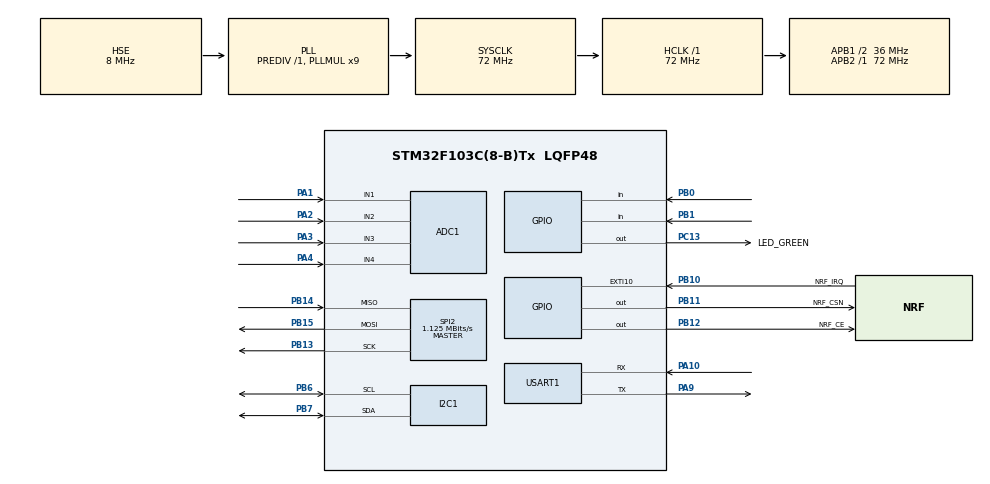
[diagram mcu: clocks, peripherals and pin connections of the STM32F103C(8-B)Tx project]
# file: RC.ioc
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ADC1.Channel-0\#ChannelRegularConversion=ADC_CHANNEL_1
ADC1.Channel-1\#ChannelRegularConversion=ADC_CHANNEL_2
ADC1.Channel-2\#ChannelRegularConversion=ADC_CHANNEL_3
ADC1.Channel-3\#ChannelRegularConversion=ADC_CHANNEL_4
ADC1.ContinuousConvMode=ENABLE
ADC1.DataAlign=ADC_DATAALIGN_RIGHT
ADC1.DiscontinuousConvMode=DISABLE
ADC1.EnableAnalogWatchDog=false
ADC1.EnableRegularConversion=ENABLE
ADC1.ExternalTrigConv=ADC_SOFTWARE_START
ADC1.InjNumberOfConversion=0
ADC1.NbrOfConversion=4
ADC1.NbrOfConversionFlag=1
ADC1.Rank-0\#ChannelRegularConversion=1
ADC1.Rank-1\#ChannelRegularConversion=2
ADC1.Rank-2\#ChannelRegularConversion=3
ADC1.Rank-3\#ChannelRegularConversion=4
ADC1.SamplingTime-0\#ChannelRegularConversion=ADC_SAMPLETIME_71CYCLES_5
ADC1.SamplingTime-1\#ChannelRegularConversion=ADC_SAMPLETIME_71CYCLES_5
ADC1.SamplingTime-2\#ChannelRegularConversion=ADC_SAMPLETIME_71CYCLES_5
ADC1.SamplingTime-3\#ChannelRegularConversion=ADC_SAMPLETIME_71CYCLES_5
ADC1.ScanConvMode=ADC_SCAN_ENABLE
ADC1.master=1
Dma.ADC1.0.Direction=DMA_PERIPH_TO_MEMORY
Dma.ADC1.0.Instance=DMA1_Channel1
Dma.ADC1.0.MemDataAlignment=DMA_MDATAALIGN_WORD
Dma.ADC1.0.MemInc=DMA_MINC_ENABLE
Dma.ADC1.0.Mode=DMA_CIRCULAR
Dma.ADC1.0.PeriphDataAlignment=DMA_PDATAALIGN_WORD
Dma.ADC1.0.PeriphInc=DMA_PINC_DISABLE
Dma.ADC1.0.Priority=DMA_PRIORITY_LOW
Dma.Request0=ADC1
FREERTOS.Mutexes01=NRFMutex,Dynamic,NULL
FREERTOS.Tasks01=DefaultTask,0,64,StartDefaultTask,Default,NULL,Dynamic,NULL,NULL;NRF_TxTask,2,512,StartNRF_TxTask,Default,NULL,Dynamic,NULL,NULL;NRF_RxTask,2,512,StartNRF_RxTask,Default,NULL,Dynamic,NULL,NULL;OLED_Task,-3,64,StartOLED_Task,Default,NULL,Dynamic,NULL,NULL
FREERTOS.configENABLE_BACKWARD_COMPATIBILITY=0
FREERTOS.configGENERATE_RUN_TIME_STATS=0
FREERTOS.configIDLE_SHOULD_YIELD=0
FREERTOS.configMINIMAL_STACK_SIZE=64
FREERTOS.configQUEUE_REGISTRY_SIZE=0
FREERTOS.configTOTAL_HEAP_SIZE=10240
FREERTOS.configUSE_MUTEXES=1
FREERTOS.configUSE_STATS_FORMATTING_FUNCTIONS=0
FREERTOS.configUSE_TASK_NOTIFICATIONS=0
FREERTOS.configUSE_TRACE_FACILITY=0
I2C1.I2C_Mode=I2C_Fast
Mcu.Family=STM32F1
Mcu.Name=STM32F103C(8-B)Tx
Mcu.Package=LQFP48
NVIC.DMA1_Channel1_IRQn=true\:5\:0\:false\:true\:true\:1\:true\:false
NVIC.EXTI15_10_IRQn=true\:6\:0\:true\:true\:true\:2\:true\:true
NVIC.PriorityGroup=NVIC_PRIORITYGROUP_4
NVIC.TIM4_IRQn=true\:0\:0\:false\:false\:true\:false\:false
NVIC.TimeBase=TIM4_IRQn
NVIC.TimeBaseIP=TIM4
PA1.Signal=ADCx_IN1
PA10.Mode=Asynchronous
PA10.Signal=USART1_RX
PA13.GPIO_Label=SWDIO
PA13.Mode=Serial_Wire
PA13.Signal=SYS_JTMS-SWDIO
PA14.GPIO_Label=SWCLK
PA14.Mode=Serial_Wire
PA14.Signal=SYS_JTCK-SWCLK
PA2.Signal=ADCx_IN2
PA3.Signal=ADCx_IN3
PA4.Signal=ADCx_IN4
PA9.Mode=Asynchronous
PA9.Signal=USART1_TX
PB0.GPIO_PuPd=GPIO_PULLUP
PB0.Signal=GPIO_Input
PB1.GPIO_PuPd=GPIO_PULLDOWN
PB1.Signal=GPIO_Input
PB10.GPIO_Label=NRF_IRQ
PB10.Signal=GPXTI10
PB11.GPIO_Label=NRF_CSN
PB11.GPIO_Speed=GPIO_SPEED_FREQ_HIGH
PB11.Signal=GPIO_Output
PB12.GPIO_Label=NRF_CE
PB12.GPIO_Speed=GPIO_SPEED_FREQ_HIGH
PB12.Signal=GPIO_Output
PB13.Mode=Full_Duplex_Master
PB13.Signal=SPI2_SCK
PB14.Mode=Full_Duplex_Master
PB14.Signal=SPI2_MISO
PB15.Mode=Full_Duplex_Master
PB15.Signal=SPI2_MOSI
PB6.Mode=I2C
PB6.Signal=I2C1_SCL
PB7.Mode=I2C
PB7.Signal=I2C1_SDA
PC13-TAMPER-RTC.GPIO_Label=LED_GREEN
PC13-TAMPER-RTC.GPIO_Speed=GPIO_SPEED_FREQ_HIGH
PC13-TAMPER-RTC.Signal=GPIO_Output
PC14-OSC32_IN.Mode=LSE-External-Oscillator
PC14-OSC32_IN.Signal=RCC_OSC32_IN
PC15-OSC32_OUT.Mode=LSE-External-Oscillator
PC15-OSC32_OUT.Signal=RCC_OSC32_OUT
PD0-OSC_IN.Mode=HSE-External-Oscillator
PD0-OSC_IN.Signal=RCC_OSC_IN
PD1-OSC_OUT.Mode=HSE-External-Oscillator
PD1-OSC_OUT.Signal=RCC_OSC_OUT
ProjectManager.HeapSize=0x400
ProjectManager.StackSize=0x600
ProjectManager.TargetToolchain=MDK-ARM V5
RCC.ADCPresc=RCC_ADCPCLK2_DIV6
RCC.AHBFreq_Value=72000000
RCC.APB1CLKDivider=RCC_HCLK_DIV2
RCC.APB1Freq_Value=36000000
RCC.APB1TimFreq_Value=72000000
RCC.APB2Freq_Value=72000000
RCC.APB2TimFreq_Value=72000000
RCC.HCLKFreq_Value=72000000
RCC.PLLMUL=RCC_PLL_MUL9
RCC.PLLSourceVirtual=RCC_PLLSOURCE_HSE
RCC.SYSCLKFreq_VALUE=72000000
RCC.SYSCLKSource=RCC_SYSCLKSOURCE_PLLCLK
RCC.USBFreq_Value=48000000
RCC.USBPrescaler=RCC_USBCLKSOURCE_PLL_DIV1_5
SH.ADCx_IN1.0=ADC1_IN1,IN1
SH.ADCx_IN2.0=ADC1_IN2,IN2
SH.ADCx_IN3.0=ADC1_IN3,IN3
SH.ADCx_IN4.0=ADC1_IN4,IN4
SPI2.BaudRatePrescaler=SPI_BAUDRATEPRESCALER_32
SPI2.CalculateBaudRate=1.125 MBits/s
SPI2.Direction=SPI_DIRECTION_2LINES
SPI2.Mode=SPI_MODE_MASTER
SPI2.VirtualType=VM_MASTER
USART1.VirtualMode=VM_ASYNC
VP_CRC_VS_CRC.Mode=CRC_Activate
VP_FREERTOS_VS_ENABLE.Mode=Enabled
VP_SYS_VS_tim4.Mode=TIM4
board=custom

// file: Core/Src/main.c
/* USER CODE BEGIN Header */
/**
  ******************************************************************************
  * @file           : main.c
  * @brief          : Main program body
  ******************************************************************************
  * This notice applies to any and all portions of this file
  * that are not between comment pairs USER CODE BEGIN and
  * USER CODE END. Other portions of this file, whether
  * inserted by the user or by software development tools
  * are owned by their respective copyright owners.
  *
  * Copyright (c) 2018 STMicroelectronics International N.V.
  * All rights reserved.
  *
  * Redistribution and use in source and binary forms, with or without
  * modification, are permitted, provided that the following conditions are met:
  *
  * 1. Redistribution of source code must retain the above copyright notice,
  *    this list of conditions and the following disclaimer.
  * 2. Redistributions in binary form must reproduce the above copyright notice,
  *    this list of conditions and the following disclaimer in the documentation
  *    and/or other materials provided with the distribution.
  * 3. Neither the name of STMicroelectronics nor the names of other
  *    contributors to this software may be used to endorse or promote products
  *    derived from this software without specific written permission.
  * 4. This software, including modifications and/or derivative works of this
  *    software, must execute solely and exclusively on microcontroller or
  *    microprocessor devices manufactured by or for STMicroelectronics.
  * 5. Redistribution and use of this software other than as permitted under
  *    this license is void and will automatically terminate your rights under
  *    this license.
  *
  * THIS SOFTWARE IS PROVIDED BY STMICROELECTRONICS AND CONTRIBUTORS "AS IS"
  * AND ANY EXPRESS, IMPLIED OR STATUTORY WARRANTIES, INCLUDING, BUT NOT
  * LIMITED TO, THE IMPLIED WARRANTIES OF MERCHANTABILITY, FITNESS FOR A
  * PARTICULAR PURPOSE AND NON-INFRINGEMENT OF THIRD PARTY INTELLECTUAL PROPERTY
  * RIGHTS ARE DISCLAIMED TO THE FULLEST EXTENT PERMITTED BY LAW. IN NO EVENT
  * SHALL STMICROELECTRONICS OR CONTRIBUTORS BE LIABLE FOR ANY DIRECT, INDIRECT,
  * INCIDENTAL, SPECIAL, EXEMPLARY, OR CONSEQUENTIAL DAMAGES (INCLUDING, BUT NOT
  * LIMITED TO, PROCUREMENT OF SUBSTITUTE GOODS OR SERVICES; LOSS OF USE, DATA,
  * OR PROFITS; OR BUSINESS INTERRUPTION) HOWEVER CAUSED AND ON ANY THEORY OF
  * LIABILITY, WHETHER IN CONTRACT, STRICT LIABILITY, OR TORT (INCLUDING
  * NEGLIGENCE OR OTHERWISE) ARISING IN ANY WAY OUT OF THE USE OF THIS SOFTWARE,
  * EVEN IF ADVISED OF THE POSSIBILITY OF SUCH DAMAGE.
  *
  ******************************************************************************
  */
/* USER CODE END Header */

#include "main.h"
#include "cmsis_os.h"
#include "adc.h"
#include "crc.h"
#include "dma.h"
#include "i2c.h"
#include "spi.h"
#include "usart.h"
#include "gpio.h"

/* USER CODE BEGIN Includes */
#include "BSP_OLED.h"
#include "BSP_NRF24L01.h"
/* USER CODE END Includes */

void SystemClock_Config(void);
void MX_FREERTOS_Init(void);
static void MX_NVIC_Init(void);

int main(void)
{

  /* MCU Configuration--------------------------------------------------------*/

  /* Reset of all peripherals, Initializes the Flash interface and the Systick. */
  HAL_Init();

  /* Configure the system clock */
  SystemClock_Config();

  /* Initialize all configured peripherals */
  MX_GPIO_Init();
  MX_DMA_Init();
  MX_SPI2_Init();
  MX_ADC1_Init();
  MX_I2C1_Init();
  MX_CRC_Init();
  MX_USART1_UART_Init();

  /* Initialize interrupts */
  MX_NVIC_Init();
  /* USER CODE BEGIN 2 */
	 OLED_Init();
		OLED_Clear();
	 OLED_ShowString(0,0,(uint8_t *)"----------------",12);
		OLED_ShowString(0,1,(uint8_t *)"++++++++++++++++",12);
		OLED_ShowString(0,2,(uint8_t *)"----------------",12);
		OLED_ShowString(0,3,(uint8_t *)"++++++++++++++++",12);
		OLED_ShowString(0,4,(uint8_t *)"----------------",12);
		OLED_ShowString(0,5,(uint8_t *)"++++++++++++++++",12);
		OLED_ShowString(0,6,(uint8_t *)"----------------",12);
		OLED_ShowString(0,7,(uint8_t *)"++++++++++++++++",12);

		OLED_Clear();

		#if 0
	 /*   检测双向通信  先发送测试  后接收测试  确保硬件没有问题    */
		while( NRF24L01_Check() );
	 NRF24L01_Init(40,1);
	 /*********发送测试部分**********/
		Tx_packet[0]=1;
		Tx_packet[1]=0xcc;
		NRF24L01_TX_Mode();
		while(1)
		{
				NRF_TxState=NRF24L01_TxPacket(Tx_packet);
		}

  /*********接收测试部分**********/
	 NRF24L01_RX_Mode();
  while(1)
 	{
	   NRF_RxState=NRF24L01_RxPacket(Rx_packet);
	 }
  #endif

 /* USER CODE END 2 */

  /* Call init function for freertos objects (in freertos.c) */
  MX_FREERTOS_Init();

  /* Start scheduler */
  osKernelStart();

  /* We should never get here as control is now taken by the scheduler */

  /* Infinite loop */
  while (1)
  {

  }
}

void SystemClock_Config(void)
{
  RCC_OscInitTypeDef RCC_OscInitStruct = {0};
  RCC_ClkInitTypeDef RCC_ClkInitStruct = {0};
  RCC_PeriphCLKInitTypeDef PeriphClkInit = {0};

  /**Initializes the CPU, AHB and APB busses clocks
  */
  RCC_OscInitStruct.OscillatorType = RCC_OSCILLATORTYPE_HSE;
  RCC_OscInitStruct.HSEState = RCC_HSE_ON;
  RCC_OscInitStruct.HSEPredivValue = RCC_HSE_PREDIV_DIV1;
  RCC_OscInitStruct.HSIState = RCC_HSI_ON;
  RCC_OscInitStruct.PLL.PLLState = RCC_PLL_ON;
  RCC_OscInitStruct.PLL.PLLSource = RCC_PLLSOURCE_HSE;
  RCC_OscInitStruct.PLL.PLLMUL = RCC_PLL_MUL9;
  if (HAL_RCC_OscConfig(&RCC_OscInitStruct) != HAL_OK)
  {
    Error_Handler();
  }
  /**Initializes the CPU, AHB and APB busses clocks
  */
  RCC_ClkInitStruct.ClockType = RCC_CLOCKTYPE_HCLK|RCC_CLOCKTYPE_SYSCLK
                              |RCC_CLOCKTYPE_PCLK1|RCC_CLOCKTYPE_PCLK2;
  RCC_ClkInitStruct.SYSCLKSource = RCC_SYSCLKSOURCE_PLLCLK;
  RCC_ClkInitStruct.AHBCLKDivider = RCC_SYSCLK_DIV1;
  RCC_ClkInitStruct.APB1CLKDivider = RCC_HCLK_DIV2;
  RCC_ClkInitStruct.APB2CLKDivider = RCC_HCLK_DIV1;

  if (HAL_RCC_ClockConfig(&RCC_ClkInitStruct, FLASH_LATENCY_2) != HAL_OK)
  {
    Error_Handler();
  }
  PeriphClkInit.PeriphClockSelection = RCC_PERIPHCLK_ADC;
  PeriphClkInit.AdcClockSelection = RCC_ADCPCLK2_DIV6;
  if (HAL_RCCEx_PeriphCLKConfig(&PeriphClkInit) != HAL_OK)
  {
    Error_Handler();
  }
}

/**
  * @brief NVIC Configuration.
  * @retval None
  */
static void MX_NVIC_Init(void)
{
  /* DMA1_Channel1_IRQn interrupt configuration */
  HAL_NVIC_SetPriority(DMA1_Channel1_IRQn, 5, 0);
  HAL_NVIC_EnableIRQ(DMA1_Channel1_IRQn);
  /* EXTI15_10_IRQn interrupt configuration */
  HAL_NVIC_SetPriority(EXTI15_10_IRQn, 6, 0);
  HAL_NVIC_EnableIRQ(EXTI15_10_IRQn);
}

/* USER CODE BEGIN 4 */
void HAL_GPIO_EXTI_Callback(uint16_t GPIO_Pin)
{
  uint8_t Rx_buf[32];
	 if( NRF24L01_IRQ_PIN_READ() ==GPIO_PIN_SET )
		NRF24L01_IRQ(Rx_buf);

}
/* USER CODE END 4 */

void HAL_TIM_PeriodElapsedCallback(TIM_HandleTypeDef *htim)
{
  if (htim->Instance == TIM4) {
    HAL_IncTick();
  }
}

void Error_Handler(void)
{
}

/************************ (C) COPYRIGHT STMicroelectronics *****END OF FILE****/

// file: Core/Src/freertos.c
/* USER CODE BEGIN Header */
/**
  ******************************************************************************
  * File Name          : freertos.c
  * Description        : Code for freertos applications
  ******************************************************************************
  * This notice applies to any and all portions of this file
  * that are not between comment pairs USER CODE BEGIN and
  * USER CODE END. Other portions of this file, whether
  * inserted by the user or by software development tools
  * are owned by their respective copyright owners.
  *
  * Copyright (c) 2018 STMicroelectronics International N.V.
  * All rights reserved.
  *
  * Redistribution and use in source and binary forms, with or without
  * modification, are permitted, provided that the following conditions are met:
  *
  * 1. Redistribution of source code must retain the above copyright notice,
  *    this list of conditions and the following disclaimer.
  * 2. Redistributions in binary form must reproduce the above copyright notice,
  *    this list of conditions and the following disclaimer in the documentation
  *    and/or other materials provided with the distribution.
  * 3. Neither the name of STMicroelectronics nor the names of other
  *    contributors to this software may be used to endorse or promote products
  *    derived from this software without specific written permission.
  * 4. This software, including modifications and/or derivative works of this
  *    software, must execute solely and exclusively on microcontroller or
  *    microprocessor devices manufactured by or for STMicroelectronics.
  * 5. Redistribution and use of this software other than as permitted under
  *    this license is void and will automatically terminate your rights under
  *    this license.
  *
  * THIS SOFTWARE IS PROVIDED BY STMICROELECTRONICS AND CONTRIBUTORS "AS IS"
  * AND ANY EXPRESS, IMPLIED OR STATUTORY WARRANTIES, INCLUDING, BUT NOT
  * LIMITED TO, THE IMPLIED WARRANTIES OF MERCHANTABILITY, FITNESS FOR A
  * PARTICULAR PURPOSE AND NON-INFRINGEMENT OF THIRD PARTY INTELLECTUAL PROPERTY
  * RIGHTS ARE DISCLAIMED TO THE FULLEST EXTENT PERMITTED BY LAW. IN NO EVENT
  * SHALL STMICROELECTRONICS OR CONTRIBUTORS BE LIABLE FOR ANY DIRECT, INDIRECT,
  * INCIDENTAL, SPECIAL, EXEMPLARY, OR CONSEQUENTIAL DAMAGES (INCLUDING, BUT NOT
  * LIMITED TO, PROCUREMENT OF SUBSTITUTE GOODS OR SERVICES; LOSS OF USE, DATA,
  * OR PROFITS; OR BUSINESS INTERRUPTION) HOWEVER CAUSED AND ON ANY THEORY OF
  * LIABILITY, WHETHER IN CONTRACT, STRICT LIABILITY, OR TORT (INCLUDING
  * NEGLIGENCE OR OTHERWISE) ARISING IN ANY WAY OUT OF THE USE OF THIS SOFTWARE,
  * EVEN IF ADVISED OF THE POSSIBILITY OF SUCH DAMAGE.
  *
  ******************************************************************************
  */
/* USER CODE END Header */

#include "FreeRTOS.h"
#include "task.h"
#include "main.h"
#include "cmsis_os.h"

/* USER CODE BEGIN Includes */
#include "string.h"

#include "crc.h"
#include "BSP_LED.h"
#include "BSP_NRF24L01.h"
#include "BSP_OLED.h"
/* USER CODE END Includes */

/* USER CODE BEGIN PD */
#define NRF_TX_MAXRETRY 6
#define NRF_RX_MAXRETRY 6
/* USER CODE END PD */

osThreadId DefaultTaskHandle;
osThreadId NRF_TxTaskHandle;
osThreadId NRF_RxTaskHandle;
osThreadId OLED_TaskHandle;
osMutexId NRFMutexHandle;

void StartDefaultTask(void const * argument);
void StartNRF_TxTask(void const * argument);
void StartNRF_RxTask(void const * argument);
void StartOLED_Task(void const * argument);

void MX_FREERTOS_Init(void); /* (MISRA C 2004 rule 8.1) */

void MX_FREERTOS_Init(void) {

  /* Create the mutex(es) */
  /* definition and creation of NRFMutex */
  osMutexDef(NRFMutex);
  NRFMutexHandle = osMutexCreate(osMutex(NRFMutex));

  /* Create the thread(s) */
  /* definition and creation of DefaultTask */
  osThreadDef(DefaultTask, StartDefaultTask, osPriorityNormal, 0, 64);
  DefaultTaskHandle = osThreadCreate(osThread(DefaultTask), NULL);

  /* definition and creation of NRF_TxTask */
  osThreadDef(NRF_TxTask, StartNRF_TxTask, osPriorityHigh, 0, 512);
  NRF_TxTaskHandle = osThreadCreate(osThread(NRF_TxTask), NULL);

  /* definition and creation of NRF_RxTask */
  osThreadDef(NRF_RxTask, StartNRF_RxTask, osPriorityHigh, 0, 512);
  NRF_RxTaskHandle = osThreadCreate(osThread(NRF_RxTask), NULL);

  /* definition and creation of OLED_Task */
  osThreadDef(OLED_Task, StartOLED_Task, osPriorityIdle, 0, 64);
  OLED_TaskHandle = osThreadCreate(osThread(OLED_Task), NULL);

}

void StartDefaultTask(void const * argument)
{

  /* USER CODE BEGIN StartDefaultTask */
  /* Infinite loop */
  for(;;)
  {
		  LED_ON;
				HAL_Delay(3);
				LED_OFF;

    osDelay(1000);
  }
  /* USER CODE END StartDefaultTask */
}

void StartNRF_TxTask(void const * argument)
{
  /* USER CODE BEGIN StartNRF_TxTask */
	 __IO uint8_t NRF_TxState=0;
	 __IO uint8_t RetryTimes=0;

		uint32_t CRC_Buf=0;
		uint32_t CRC_Value=0;

		uint8_t Tx_packet[32];
		char str_buf[16];

		memset(str_buf,0,16);
		memset(str_buf,0,32);

  /* Infinite loop */
  for(;;)
  {
				Tx_packet[0]++;
				CRC_Buf=Tx_packet[0];

				CRC_Value=HAL_CRC_Calculate(&hcrc,&CRC_Buf,1);
				Tx_packet[1]=(uint8_t)CRC_Value;

				osMutexWait(NRFMutexHandle,osWaitForever);
			 NRF24L01_TX_Mode();
				NRF24L01_TxPacket(Tx_packet);
				osMutexRelease(NRFMutexHandle);

				if( NRF_TxState != TX_OK && RetryTimes<NRF_TX_MAXRETRY)
				{
						for(RetryTimes=0;RetryTimes<NRF_TX_MAXRETRY;RetryTimes++)
						{
								osMutexWait(NRFMutexHandle,osWaitForever);
								NRF24L01_TxPacket(Tx_packet);
//							 sprintf(str_buf,"%3d ox%2x %2d ox%2x",Tx_packet[0],(uint8_t)CRC_Value,RetryTimes,NRF_TxState);
//							 OLED_ShowString(0,0,(uint8_t *)str_buf,12);
								osMutexRelease(NRFMutexHandle);
								if( NRF_TxState == TX_OK) 	break;
						}
				}
				else
				{
						if(RetryTimes != 0)
						{
//							 OLED_ShowString(0,1,"Tx fault",12);
								RetryTimes=0;
						}
						else
						{
//							 OLED_ShowString(0,1,"        Tx ok",12);
						}
				}

				osMutexWait(NRFMutexHandle,osWaitForever);
				NRF24L01_RX_Mode();
				osMutexRelease(NRFMutexHandle);
				while( osThreadResume(NRF_RxTaskHandle)   != osOK);
				while( osThreadSuspend(NRF_TxTaskHandle)  != osOK);
    osDelay(1);
  }
  /* USER CODE END StartNRF_TxTask */
}

void StartNRF_RxTask(void const * argument)
{
  /* USER CODE BEGIN StartNRF_RxTask */
		uint8_t Rx_packet[2]={0},RetryTimes=0;
  __IO uint8_t NRF_RxState=0;
		uint32_t CRC_Buf=0;
		uint32_t CRC_Value=0;
		char str_buf[16];

		memset(str_buf,0,16);
	 while( osThreadSuspend(NRF_RxTaskHandle) != osOK);

  /* Infinite loop */
  for(;;)
  {

		  osMutexWait(NRFMutexHandle,osWaitForever);
	   NRF24L01_RxPacket(Rx_packet);
    osMutexRelease(NRFMutexHandle);

				if( NRF_RxState != RX_OK )
				{
						for(RetryTimes=0;RetryTimes<NRF_RX_MAXRETRY;RetryTimes++)
						{
								osMutexWait(NRFMutexHandle,osWaitForever);
								NRF24L01_RxPacket(Rx_packet);
//								sprintf(str_buf,"%3d ox%2x %2d ox%2x",Rx_packet[0],Rx_packet[1],RetryTimes,NRF_RxState);
//							 OLED_ShowString(0,2,(uint8_t *)str_buf,12);
								osMutexRelease(NRFMutexHandle);
								if( NRF_RxState == RX_OK) break;
						}
				}
				else
				{
						if(RetryTimes != 0)
						{
								RetryTimes=0;
						}
						CRC_Value=HAL_CRC_Calculate(&hcrc,&CRC_Buf,1);
						if( (uint8_t)CRC_Value == Rx_packet[1]  )
						{
//							 sprintf(str_buf,"Rx:%d CRC OK",Rx_packet[0]);
//							 OLED_ShowString(0,3,(uint8_t *)str_buf,12);
						}
						else
						{
//							 OLED_ShowString(0,3,"CRC ERROR",12);
						}
				}
				sprintf(str_buf,"Rx:%d",Rx_packet[0]);
				OLED_ShowString(0,3,(uint8_t *)str_buf,12);
				while( osThreadResume(NRF_TxTaskHandle)  != osOK);
				while( osThreadSuspend(NRF_RxTaskHandle) != osOK);
    osDelay(1);
  }
  /* USER CODE END StartNRF_RxTask */
}

void StartOLED_Task(void const * argument)
{
  /* USER CODE BEGIN StartOLED_Task */

  /* Infinite loop */
  for(;;)
  {

    osDelay(10);
  }
  /* USER CODE END StartOLED_Task */
}

/************************ (C) COPYRIGHT STMicroelectronics *****END OF FILE****/
